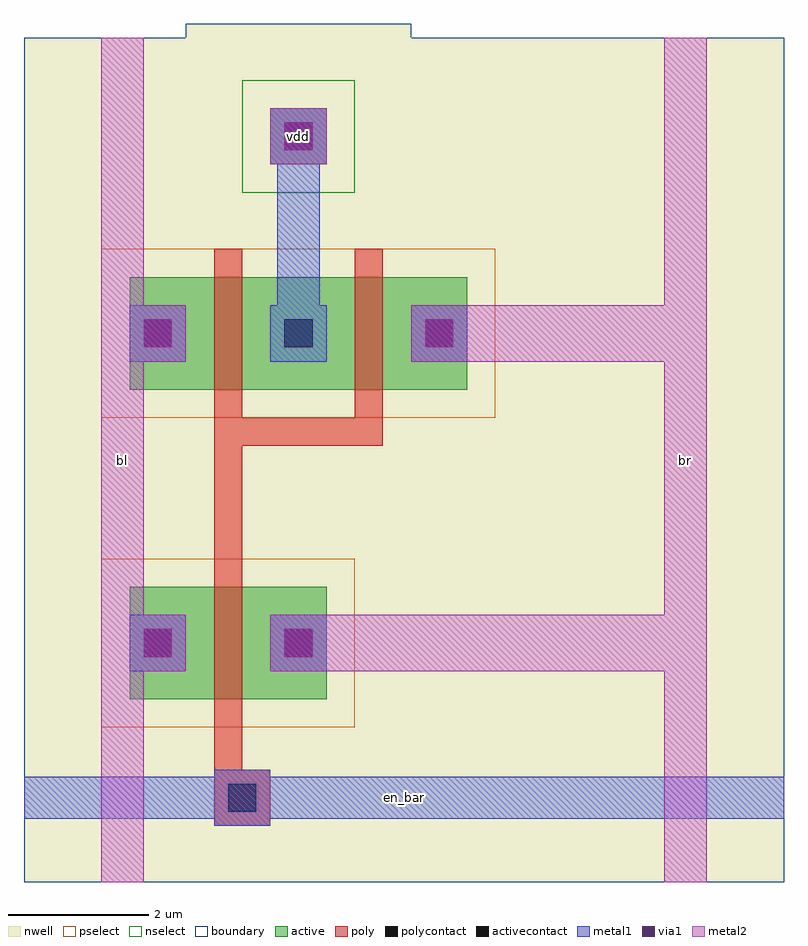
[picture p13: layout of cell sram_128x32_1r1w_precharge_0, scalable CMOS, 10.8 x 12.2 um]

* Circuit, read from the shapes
.subckt sram_128x32_1r1w_precharge_0 bl br en_bar vdd
M1 br en_bar bl vdd pfet w=1.6u l=0.4u
M2 vdd en_bar bl vdd pfet w=1.6u l=0.4u
M3 br en_bar vdd vdd pfet w=1.6u l=0.4u
.ends

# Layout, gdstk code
import gdstk
lib = gdstk.Library(unit=1e-6, precision=1e-09)
def R(c, l, rs):  # rectangles x0, y0, x1, y1
    for r in rs: c.add(gdstk.rectangle(r[:2], r[2:], *l))
nwell = (42, 0)
active = (43, 0)
pselect = (44, 0)
nselect = (45, 0)
poly = (46, 0)
polycontact = (47, 0)
activecontact = (48, 0)
metal1 = (49, 0)
via1 = (50, 0)
metal2 = (51, 0)
boundary = (63, 0)

sram_128x32_1r1w_contact = lib.new_cell('sram_128x32_1r1w_contact_11')
R(sram_128x32_1r1w_contact, nwell, [(-1.2,-1.2,2,2)])
R(sram_128x32_1r1w_contact, active, [(0,0,0.8,0.8)])
R(sram_128x32_1r1w_contact, pselect, [(-0.4,-0.4,1.2,1.2)])
R(sram_128x32_1r1w_contact, activecontact, [(0.2,0.2,0.6,0.6)])
R(sram_128x32_1r1w_contact, metal1, [(0,0,0.8,0.8)])
R(sram_128x32_1r1w_contact, boundary, [(-1.2,-1.2,2,2)])

sram_128x32_1r1w_pmos_m1 = lib.new_cell('sram_128x32_1r1w_pmos_m1_w1_600_sm1_dm1')
R(sram_128x32_1r1w_pmos_m1, nwell, [(-1.2,-1.2,4,2.8)])
R(sram_128x32_1r1w_pmos_m1, active, [(0,0,2.8,1.6)])
R(sram_128x32_1r1w_pmos_m1, pselect, [(-0.4,-0.4,3.2,2)])
R(sram_128x32_1r1w_pmos_m1, poly, [(1.2,-0.4,1.6,2), (1.2,-0.4,1.6,2)])
R(sram_128x32_1r1w_pmos_m1, metal1, [(0,0.4,0.8,1.2), (2,0.4,2.8,1.2)])
R(sram_128x32_1r1w_pmos_m1, boundary, [(-1.2,-1.2,4,2.8)])
sram_128x32_1r1w_pmos_m1.add(gdstk.Reference(sram_128x32_1r1w_contact, (0,0.4)))
sram_128x32_1r1w_pmos_m1.add(gdstk.Reference(sram_128x32_1r1w_contact, (2,0.4)))
sram_128x32_1r1w_pmos_m1.add(gdstk.Label('G', (1.4,0.8), layer=46, texttype=0))
sram_128x32_1r1w_pmos_m1.add(gdstk.Label('S', (0.4,0.8), layer=49, texttype=0))
sram_128x32_1r1w_pmos_m1.add(gdstk.Label('D', (2.4,0.8), layer=49, texttype=0))

c_sram_128x32_1r1w_contact = lib.new_cell('sram_128x32_1r1w_contact_14')
R(c_sram_128x32_1r1w_contact, poly, [(0,0,0.8,0.8)])
R(c_sram_128x32_1r1w_contact, polycontact, [(0.2,0.2,0.6,0.6)])
R(c_sram_128x32_1r1w_contact, metal1, [(0,0,0.8,0.8)])
R(c_sram_128x32_1r1w_contact, boundary, [(0,0,0.8,0.8)])

c_sram_128x32_1r1w_contact_ = lib.new_cell('sram_128x32_1r1w_contact_22')
R(c_sram_128x32_1r1w_contact_, nwell, [(-1.2,-1.2,2,2)])
R(c_sram_128x32_1r1w_contact_, active, [(0,0,0.8,0.8)])
R(c_sram_128x32_1r1w_contact_, nselect, [(-0.4,-0.4,1.2,1.2)])
R(c_sram_128x32_1r1w_contact_, activecontact, [(0.2,0.2,0.6,0.6)])
R(c_sram_128x32_1r1w_contact_, metal1, [(0,0,0.8,0.8)])
R(c_sram_128x32_1r1w_contact_, boundary, [(-1.2,-1.2,2,2)])

c_sram_128x32_1r1w_contact__ = lib.new_cell('sram_128x32_1r1w_contact_17')
R(c_sram_128x32_1r1w_contact__, metal1, [(0,0,0.8,0.8)])
R(c_sram_128x32_1r1w_contact__, via1, [(0.2,0.2,0.6,0.6)])
R(c_sram_128x32_1r1w_contact__, metal2, [(0,0,0.8,0.8)])
R(c_sram_128x32_1r1w_contact__, boundary, [(0,0,0.8,0.8)])

c_sram_128x32_1r1w_contact___ = lib.new_cell('sram_128x32_1r1w_contact_23')
R(c_sram_128x32_1r1w_contact___, metal1, [(0,0,0.8,0.8)])
R(c_sram_128x32_1r1w_contact___, via1, [(0.2,0.2,0.6,0.6)])
R(c_sram_128x32_1r1w_contact___, metal2, [(0,0,0.8,0.8)])
R(c_sram_128x32_1r1w_contact___, boundary, [(0,0,0.8,0.8)])

sram_128x32_1r1w_prechar = lib.new_cell('sram_128x32_1r1w_precharge_0')
R(sram_128x32_1r1w_prechar, nwell, [(0,0,10.8,12)])
R(sram_128x32_1r1w_prechar, poly, [(2.7,1,3.1,1.4), (2.9,1,3.1,1.4), (2.7,1.2,3.1,2.2), (2.7,4.6,3.1,6.6), (2.7,6.2,5.1,6.6)])
R(sram_128x32_1r1w_prechar, metal1, [(0,0.9,10.8,1.5), (3.6,7.8,4.2,10.6), (3.6,10.3,4.2,10.9)])
R(sram_128x32_1r1w_prechar, metal2, [(1.1,0,1.7,12), (1.1,0,1.7,12), (9.1,0,9.7,12), (9.1,0,9.7,12), (1.4,3,1.9,3.8), (3.9,3,9.4,3.8), (1.4,7.4,1.9,8.2), (5.9,7.4,9.4,8.2)])
R(sram_128x32_1r1w_prechar, boundary, [(0,0,10.8,12)])
sram_128x32_1r1w_prechar.add(gdstk.Reference(sram_128x32_1r1w_pmos_m1, (1.5,2.6)))
sram_128x32_1r1w_prechar.add(gdstk.Reference(sram_128x32_1r1w_pmos_m1, (1.5,7)))
sram_128x32_1r1w_prechar.add(gdstk.Reference(sram_128x32_1r1w_pmos_m1, (3.5,7)))
sram_128x32_1r1w_prechar.add(gdstk.Reference(c_sram_128x32_1r1w_contact, (2.7,0.8)))
sram_128x32_1r1w_prechar.add(gdstk.Reference(c_sram_128x32_1r1w_contact_, (3.5,10.2)))
sram_128x32_1r1w_prechar.add(gdstk.Reference(c_sram_128x32_1r1w_contact__, (3.5,10.2)))
sram_128x32_1r1w_prechar.add(gdstk.Reference(c_sram_128x32_1r1w_contact___, (1.5,3)))
sram_128x32_1r1w_prechar.add(gdstk.Reference(c_sram_128x32_1r1w_contact___, (3.5,3)))
sram_128x32_1r1w_prechar.add(gdstk.Reference(c_sram_128x32_1r1w_contact___, (1.5,7.4)))
sram_128x32_1r1w_prechar.add(gdstk.Reference(c_sram_128x32_1r1w_contact___, (5.5,7.4)))
sram_128x32_1r1w_prechar.add(gdstk.Label('en_bar', (5.4,1.2), layer=49, texttype=0))
sram_128x32_1r1w_prechar.add(gdstk.Label('vdd', (3.9,10.6), layer=49, texttype=0))
sram_128x32_1r1w_prechar.add(gdstk.Label('bl', (1.4,6), layer=51, texttype=0))
sram_128x32_1r1w_prechar.add(gdstk.Label('br', (9.4,6), layer=51, texttype=0))

lib.write_gds('sram_128x32_1r1w_precharge_0.gds')
